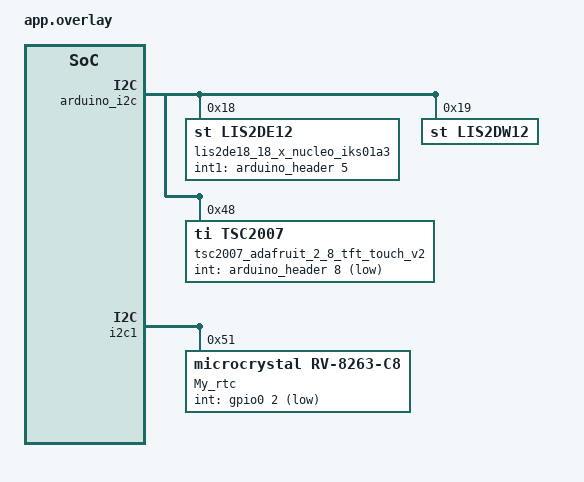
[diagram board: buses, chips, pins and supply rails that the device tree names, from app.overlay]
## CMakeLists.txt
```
# Copyright (c) 2019 STMicroelectronics
#
# SPDX-License-Identifier: Apache-2.0
#
cmake_minimum_required(VERSION 3.20.0)

# This sample is specific to x_nucleo_iks01a3 shield. Enforce -DSHIELD option
set(SHIELD adafruit_2_8_tft_touch_v2  x_nucleo_iks01a3 )

find_package(Zephyr REQUIRED HINTS $ENV{ZEPHYR_BASE})
project(standard)
set(LVGL_DIR ${ZEPHYR_LVGL_MODULE_DIR})
FILE(GLOB app_sources src/*.c src/ui/*.c src/ui/images/*.c src/ui/fonts/*.c src/ui/screens/*.c src/ui/components/*.c)

target_sources(app PRIVATE ${app_sources})
```

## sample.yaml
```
sample:
  name: X-NUCLEO-IKS01A3 sensor shield
common:
  min_ram: 16
tests:
  sample.shields.x_nucleo_iks01a3.standard:
    harness: shield
    tags: shield
    depends_on:
      - arduino_i2c
      - arduino_gpio
    platform_exclude:
      - disco_l475_iot1
      - lpcxpresso55s16
      - pan1781_evb
      - pan1782_evb
      - mimxrt1010_evk
```

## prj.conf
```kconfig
CONFIG_LOG=y
CONFIG_STDOUT_CONSOLE=y
CONFIG_I2C=y
CONFIG_GPIO=y
CONFIG_SENSOR=y
CONFIG_INPUT=y
CONFIG_INPUT_TSC2007=y
CONFIG_INPUT_GPIO_KEYS=y
CONFIG_SENSOR_LOG_LEVEL_DBG=y
CONFIG_HTS221=y
CONFIG_LPS22HH=y
CONFIG_STTS751_TRIGGER_NONE=y
CONFIG_LIS2MDL_TRIGGER_NONE=y
CONFIG_LIS2DW12_TRIGGER_OWN_THREAD=y
CONFIG_LSM6DSO_ENABLE_TEMP=n
CONFIG_LSM6DSO_TRIGGER_OWN_THREAD=y
CONFIG_CBPRINTF_FP_SUPPORT=y


# DIL24 section
CONFIG_LIS2DE12_ENABLE_TEMP=y
CONFIG_LIS2DE12_TRIGGER_NONE=y

CONFIG_MAIN_STACK_SIZE=4096

CONFIG_SHELL=y

CONFIG_LVGL=y
CONFIG_LV_Z_MEM_POOL_SIZE=32768
CONFIG_LV_Z_SHELL=y
CONFIG_LV_USE_MONKEY=y
CONFIG_LV_COLOR_DEPTH_32=y

CONFIG_DISPLAY=y

CONFIG_LV_USE_PERF_MONITOR=y

CONFIG_LV_FONT_MONTSERRAT_16=y
CONFIG_LV_FONT_MONTSERRAT_18=y
CONFIG_LV_FONT_MONTSERRAT_20=y
CONFIG_LV_FONT_MONTSERRAT_24=y 
CONFIG_LV_FONT_MONTSERRAT_42=y
# Benchmark Demo
CONFIG_LV_USE_FONT_COMPRESSED=y

# Pour les 4 timers
CONFIG_NRFX_TIMER0=y
CONFIG_NRFX_TIMER1=y
CONFIG_NRFX_TIMER2=y
CONFIG_NRFX_TIMER3=y


CONFIG_NCS_SAMPLES_DEFAULTS=y
CONFIG_SYSTEM_WORKQUEUE_STACK_SIZE=2048
CONFIG_RTC=y
CONFIG_RTC_RV8263=y

CONFIG_BT=y
CONFIG_BT_PERIPHERAL=y  # Si vous souhaitez que votre appareil soit un périphérique
CONFIG_BT_DEVICE_NAME="nRF5340BLEyopchoco"  # Le nom de votre appareil
CONFIG_BT_NUS=y  # Pour utiliser un service de type UART BLE (exemple)




CONFIG_BT_SETTINGS=y
CONFIG_SETTINGS=y
```

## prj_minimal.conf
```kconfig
# BEGIN Configurations from basic/minimal

CONFIG_NCS_SAMPLES_DEFAULTS=y

CONFIG_BT=y
CONFIG_BT_PERIPHERAL=y
CONFIG_BT_DEVICE_NAME="YALAboard"

# Enable the LBS service
CONFIG_BT_LBS=y
CONFIG_BT_LBS_POLL_BUTTON=y
CONFIG_DK_LIBRARY=y

# Drivers and peripherals
CONFIG_I2C=n
CONFIG_WATCHDOG=n
CONFIG_GPIO=n
CONFIG_SPI=n
CONFIG_SERIAL=n

# Power management

# Interrupts
CONFIG_DYNAMIC_INTERRUPTS=n
CONFIG_IRQ_OFFLOAD=n

# Memory protection
CONFIG_THREAD_STACK_INFO=n
CONFIG_THREAD_CUSTOM_DATA=n
CONFIG_FPU=n

# Boot
CONFIG_NCS_BOOT_BANNER=n
CONFIG_BOOT_BANNER=n
CONFIG_BOOT_DELAY=0

# Console
CONFIG_CONSOLE=n
CONFIG_UART_CONSOLE=n
CONFIG_STDOUT_CONSOLE=n
CONFIG_PRINTK=n
CONFIG_EARLY_CONSOLE=n

# Build
CONFIG_SIZE_OPTIMIZATIONS=y

# ARM
CONFIG_ARM_MPU=n
# END Configurations from basic/minimal

# In order to correctly tune the stack sizes for the threads the following
# Configurations can enabled to print the current use:
# CONFIG_THREAD_NAME=y
# CONFIG_THREAD_ANALYZER=y
# CONFIG_THREAD_ANALYZER_AUTO=y
# CONFIG_THREAD_ANALYZER_RUN_UNLOCKED=y
# CONFIG_THREAD_ANALYZER_USE_PRINTK=y
# CONFIG_CONSOLE=y
# CONFIG_UART_CONSOLE=y
# CONFIG_SERIAL=y
# CONFIG_PRINTK=y

# Example output of thread analyzer
# SDC RX              : unused 816 usage 208 / 1024 (20 %)
# BT RX               : unused 1784 usage 416 / 2200 (18 %)
# BT TX               : unused 992 usage 544 / 1536 (35 %)
# thread_analyzer     : unused 136 usage 376 / 512 (73 %)
# sysworkq            : unused 1824 usage 224 / 2048 (10 %)
# MPSL signal         : unused 520 usage 504 / 1024 (49 %)
# idle 00             : unused 192 usage 64 / 256 (25 %)
# main                : unused 136 usage 888 / 1024 (86 %)
# Configurations set based on thread analyzer output.
CONFIG_BT_RX_STACK_SIZE=1024
CONFIG_BT_HCI_TX_STACK_SIZE_WITH_PROMPT=y
CONFIG_BT_HCI_TX_STACK_SIZE=640
CONFIG_SYSTEM_WORKQUEUE_STACK_SIZE=1536
CONFIG_MPSL_WORK_STACK_SIZE=640
CONFIG_MAIN_STACK_SIZE=1024
CONFIG_IDLE_STACK_SIZE=128
CONFIG_ISR_STACK_SIZE=1024

# Disable features not needed
CONFIG_TIMESLICING=n
CONFIG_COMMON_LIBC_MALLOC=n
CONFIG_LOG=n
CONFIG_ASSERT=n

# Disable Bluetooth features not needed
CONFIG_BT_DEBUG_NONE=y
CONFIG_BT_ASSERT=n
CONFIG_BT_DATA_LEN_UPDATE=n
CONFIG_BT_PHY_UPDATE=n
CONFIG_BT_GATT_CACHING=n
CONFIG_BT_GATT_SERVICE_CHANGED=n
CONFIG_BT_GAP_PERIPHERAL_PREF_PARAMS=n
CONFIG_BT_SETTINGS_CCC_LAZY_LOADING=y
CONFIG_BT_HCI_VS=n

# Disable Bluetooth controller features not needed
CONFIG_BT_CTLR_PRIVACY=n
CONFIG_BT_CTLR_PHY_2M=n

# Reduce Bluetooth buffers
CONFIG_BT_BUF_EVT_DISCARDABLE_COUNT=1
CONFIG_BT_BUF_EVT_DISCARDABLE_SIZE=43
CONFIG_BT_BUF_EVT_RX_COUNT=2

CONFIG_BT_CONN_TX_MAX=3
CONFIG_BT_L2CAP_TX_BUF_COUNT=2
CONFIG_BT_ATT_TX_COUNT=2
CONFIG_BT_BUF_ACL_TX_COUNT=3
CONFIG_BT_BUF_ACL_TX_SIZE=27
```

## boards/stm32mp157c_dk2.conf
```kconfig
# Copyright (c) 2019 STMicroelectronics
#
# SPDX-License-Identifier: Apache-2.0

CONFIG_LPS22HH_TRIGGER_OWN_THREAD=n
CONFIG_LPS22HH_TRIGGER_NONE=y
CONFIG_LIS2DW12_TRIGGER_OWN_THREAD=n
CONFIG_LIS2DW12_TRIGGER_NONE=y
CONFIG_LSM6DSO_TRIGGER_OWN_THREAD=n
CONFIG_LSM6DSO_TRIGGER_NONE=y

# DIL24 section
CONFIG_LIS2DE12_ENABLE_TEMP=n
```

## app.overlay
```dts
/*
 * Copyright (c) 2024 STMicroelectronics
 *
 * SPDX-License-Identifier: Apache-2.0
 */

/*
 * Sensors declared here are possibly present on DIL24
 */
 &arduino_i2c {
	status = "okay";

	lis2de18_18_x_nucleo_iks01a3: lis2de12@18 {
		compatible = "st,lis2de12";
		reg = <0x18>;
		int1-gpios =  <&arduino_header 5 GPIO_ACTIVE_HIGH>; /* A5 */
	};

	lis2dw12: lis2dw12@19 {
        compatible = "st,lis2dw12";
        reg = <0x19>;
        label = "LIS2DW12";
    };

	tsc2007_adafruit_2_8_tft_touch_v2: tsc2007@48 {
		status = "okay";
		compatible = "ti,tsc2007";
		reg = <0x48>;
		int-gpios = <&arduino_header 8 GPIO_ACTIVE_LOW>; /* D2 */
		screen-width = <240>;
		screen-height = <320>;
		raw-x-min = <400>;
		raw-y-min = <400>;
		raw-x-max = <3600>;
		raw-y-max = <3600>;
		inverted-x;
		inverted-y;
	};
};
&i2c1 {
	status = "okay";

	rv8263: rtc@51{
		compatible = "microcrystal,rv-8263-c8";
		reg = <0x51>;
		label ="My_rtc";
		clkout = <0>;
		int-gpios = <&gpio0 2 GPIO_ACTIVE_LOW>;
	};
};
```

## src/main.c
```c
// === Includes communs ===
#include <zephyr/kernel.h>
#include <zephyr/device.h>
#include <zephyr/drivers/sensor.h>
#include <zephyr/drivers/display.h>
#include <zephyr/input/input.h>
#include <zephyr/sys/util.h>
#include <zephyr/logging/log.h>
#include <zephyr/drivers/rtc.h>
#include <lvgl.h>
#include <lvgl_mem.h>
#include "ui/ui.h"
#include <stdio.h>
#include <limits.h>

#include <zephyr/drivers/gpio.h>
#include <zephyr/bluetooth/bluetooth.h>
#include <zephyr/bluetooth/conn.h>
#include <zephyr/bluetooth/gatt.h>
#include <bluetooth/services/nus.h>


// === Définition et configuration ===
#define STACK_SIZE 2048
K_THREAD_STACK_DEFINE(thread_stack_area_0, STACK_SIZE);
K_THREAD_STACK_DEFINE(thread_stack_area_1, STACK_SIZE);
K_THREAD_STACK_DEFINE(thread_stack_area_2, STACK_SIZE);
K_THREAD_STACK_DEFINE(thread_stack_area_3, STACK_SIZE);
K_THREAD_STACK_DEFINE(thread_stack_area_4, STACK_SIZE);
K_THREAD_STACK_DEFINE(thread_stack_area_5, STACK_SIZE);

struct k_thread thread_task_0, thread_task_1, thread_task_2, thread_task_3, thread_task_4, thread_task_5;
struct rtc_time now;
K_SEM_DEFINE(i2c_sem, 1, 1);
LOG_MODULE_REGISTER(app);

// ui.c ou main.c
int ss;
int mm;
int etat;
int step_count;
bool reset_podo;

bool touch_handled = false;

// === Capteurs ===
const struct device *hts221 = DEVICE_DT_GET_ANY(st_hts221);
const struct device *lps22hh = DEVICE_DT_GET_ANY(st_lps22hh);
const struct device *lis2mdl = DEVICE_DT_GET_ANY(st_lis2mdl);
//const struct device *lsm6dso = DEVICE_DT_GET_ANY(st_lsm6dso);
const struct device *lis2dw12 = DEVICE_DT_GET_ANY(st_lis2dw12);
uint32_t seconds = 0; // Compteur des secondes
uint32_t minutes = 0; // Compteur des minutes
uint32_t hours = 0;	  // Compteur des heures

void RTC_INIT()
{

	const struct device *rtc_dev = DEVICE_DT_GET(DT_NODELABEL(rv8263));

	device_is_ready(rtc_dev);

	struct rtc_time date = {
		.tm_sec = 0,
		.tm_min = 32,
		.tm_hour = 18,
		.tm_mday = 10,
		.tm_mon = 3,
		.tm_year = 2025 - 1900,
	};

	rtc_set_time(rtc_dev, &date);
}

void ma_rtc()
{
	// Récupérer l'appareil RTC
	const struct device *rtc_dev = DEVICE_DT_GET_ANY(microcrystal_rv_8263_c8);
	if (!device_is_ready(rtc_dev))
	{
		// Vérification si le périphérique RTC est prêt
		LOG_ERR("RTC device is not ready.");
		printk("RTC device is not ready.\n");
		return;
	}

	int ret = rtc_get_time(rtc_dev, &now);
	if (ret < 0)
	{
		// Si l'appel pour obtenir l'heure échoue
		LOG_ERR("Failed to get RTC time");
		printk("Failed to get RTC time\n");
		return;
	}

	// Afficher l'heure dans un format lisible
	/*printk("Current time: %02d:%02d:%02d %02d/%02d/%04d\n",
		   now.tm_hour, now.tm_min, now.tm_sec,
		   now.tm_mday, now.tm_mon + 1, now.tm_year + 1900);*/
}

// === Touchscreen ===
static struct k_sem touch_sync;
static bool screen_touched = false;
static int current_screen = 1;
static const struct device *const touch_dev_main = DEVICE_DT_GET(DT_NODELABEL(tsc2007_adafruit_2_8_tft_touch_v2));

static void touch_event_callback(struct input_event *evt, void *user_data)
{
	// Désactivation du changement d'écran sur simple toucher
	if (evt->code == INPUT_BTN_TOUCH && evt->sync)
	{
		k_sem_give(&touch_sync); // Synchronisation pour d'autres usages si nécessaire
	}
}

void init_touch_detection(const struct device *touch_dev)
{
	if (!device_is_ready(touch_dev))
	{
		printk("Touch device not ready\n");
		return;
	}
	k_sem_init(&touch_sync, 0, 1);
}
bool is_screen_touched(void)
{
	k_sem_take(&touch_sync, K_FOREVER);
	return screen_touched;
}
INPUT_CALLBACK_DEFINE(touch_dev_main, touch_event_callback, NULL);

// === Fonctions de config capteurs ===
// (identiques aux deux fichiers - gardées telles quelles)
static void lis2mdl_config(const struct device *dev) {}
static void lps22hh_config(const struct device *dev) { /* voir original */ }
static void lsm6dso_config(const struct device *dev) { /* voir original */ }

// === Tâches capteurs ===
struct sensor_value temp1, hum, press;
struct sensor_value accel[3], gyro[3], magn[3];

void lps22hh_task(void)
{
	struct sensor_value press;

	while (1)
	{
		k_sem_take(&i2c_sem, K_FOREVER);
		if (sensor_sample_fetch(lis2mdl) < 0)
		{
			printf("LIS2MDL sample error\n");
		}
		sensor_channel_get(lps22hh, SENSOR_CHAN_PRESS, &press);
		k_sem_give(&i2c_sem);
		// printf("LPS22HH: Pressure: %.3f kPa\n", sensor_value_to_double(&press));
		k_sleep(K_SECONDS(3));
	}
}

void lis2mdl_task(void)
{
	struct sensor_value press;

	while (1)
	{
		k_sem_take(&i2c_sem, K_FOREVER);
		if (sensor_sample_fetch(lis2mdl) < 0)
		{
			printf("LIS2MDL sample error\n");
		}

		sensor_channel_get(lis2mdl, SENSOR_CHAN_MAGN_XYZ, magn);
		k_sem_give(&i2c_sem);
		/*printf("LIS2MDL: Magnetometer (gauss): x=%.3f y=%.3f z=%.3f\n",
			   sensor_value_to_double(&magn[0]),
			   sensor_value_to_double(&magn[1]),
			   sensor_value_to_double(&magn[2]));*/
		k_sleep(K_SECONDS(3));
	}
}

/*
void lsm6dso_task(void)
{
	struct sensor_value press;

	while (1)
	{
		k_sem_take(&i2c_sem, K_FOREVER);
		if (sensor_sample_fetch(lsm6dso) < 0)
		{
			printf("LIS2MDL sample error\n");
		}
		sensor_channel_get(lsm6dso, SENSOR_CHAN_ACCEL_XYZ, accel1);
		sensor_channel_get(lsm6dso, SENSOR_CHAN_GYRO_XYZ, gyro);
		k_sem_give(&i2c_sem);
		printf("LSM6DSO: Accel (m/s²): x=%.3f y=%.3f z=%.3f\n",
			   sensor_value_to_double(&accel1[0]),
			   sensor_value_to_double(&accel1[1]),
			   sensor_value_to_double(&accel1[2]));
		printf("LSM6DSO: Gyro (dps): x=%.3f y=%.3f z=%.3f\n",
			   sensor_value_to_double(&gyro[0]),
			   sensor_value_to_double(&gyro[1]),
			   sensor_value_to_double(&gyro[2]));
		k_sleep(K_SECONDS(3));
	}
}
*/


void chrono_task()
{
	// Boucle infinie pour mettre à jour l'affichage toutes les secondes
	while (1)
	{
		// Calculer le temps écoulé en secondes

		if (etat == 1)
		{
			seconds++;

			// Gérer les minutes et les heures
			if (seconds >= 60)
			{
				seconds = 0;
				minutes++;
			}
			if (minutes >= 60)
			{
				minutes = 0;
				hours++;
			}
			if (hours >= 24)
			{
				hours = 0; // Remise à zéro des heures après 24 heures
			}
			update_display_chrono(minutes, seconds);
		}
		else if (etat == 2)
		{
			mm = minutes;
			ss = seconds;
			update_display_chrono(mm, ss);
		}
		else
		{
			minutes = 0;
			seconds = 0;
		}

		// Afficher le temps écoulé sous le format hh:mm:ss
		printk("%02d:%02d:%02d\n", hours, minutes, seconds);

		// Attendre 1 seconde avant de mettre à jour le chrono
		k_msleep(1000); // Attente de 1000 ms (1 seconde)
	}
}

void task_rtc(void)
{
	while (1)
	{
		k_sem_take(&i2c_sem, K_FOREVER);
		ma_rtc();
		k_sem_give(&i2c_sem);

		update_display_time(now.tm_hour, now.tm_min,
							now.tm_mday, now.tm_mon + 1, (now.tm_year + 1900) - 2000);
		k_sleep(K_MINUTES(1));
	}
}
void hts221_task(void)
{
	struct sensor_value press;

	while (1)
	{
		k_sem_take(&i2c_sem, K_FOREVER); // Prendre le
		if (sensor_sample_fetch(hts221) < 0)
		{
			printf("LIS2MDL sample error\n");
		}
		sensor_channel_get(hts221, SENSOR_CHAN_AMBIENT_TEMP, &temp1);
		sensor_channel_get(hts221, SENSOR_CHAN_HUMIDITY, &hum);

		k_sem_give(&i2c_sem); // Rendre le sémaphore

		/*printf("HTS221: Temp: %.1f C | Humidity: %.1f%%\n",
			sensor_value_to_double(&temp1),
			sensor_value_to_double(&hum));
*/
		update_display_hts221(sensor_value_to_double(&temp1),
							  sensor_value_to_double(&hum));

		k_sleep(K_SECONDS(3));
	}
}



void podometre_task(void) 
{
	typedef struct {
    		float x, y, z;
		} Vector3;
	float calculate_magnitude(Vector3 acc) { // Fonction pour calculer la magnitude d'un vecteur
    		return sqrtf(acc.x * acc.x + acc.y * acc.y + acc.z * acc.z);
		}
	
	#define STEP_THRESHOLD 13.0f
	#define MIN_TIME_BETWEEN_STEPS_MS 200 // Temps minimum entre deux pas (en ms)
	static float last_peak_time = -MIN_TIME_BETWEEN_STEPS_MS; // Temps du dernier pic détecté
	static float last_magnitude = 0.0f;
	static bool in_dead_zone = false;
	while (1)
	{
		k_sem_take(&i2c_sem, K_FOREVER);
		if (sensor_sample_fetch(lis2dw12) < 0)
		{
			printf("LIS2MDL sample error\n");
		}
		sensor_channel_get(lis2dw12, SENSOR_CHAN_ACCEL_XYZ, accel);
		k_sem_give(&i2c_sem);

		if (reset_podo)
		{
			step_count = 0;
			reset_podo = false;
		}
		// Lire les données de l'accéléromètre
		Vector3 acc_data;
		acc_data.x = sensor_value_to_double(&accel[0]);
		acc_data.y = sensor_value_to_double(&accel[1]);
		acc_data.z = sensor_value_to_double(&accel[2]);
		float magnitude = calculate_magnitude(acc_data);

		// Détecter un pic (magnitude dépasse le seuil et est un maximum local)
		if (!in_dead_zone && magnitude > STEP_THRESHOLD && magnitude > last_magnitude) {
			float current_time = k_uptime_get(); // Temps actuel en ms

			// Vérifier si le temps entre deux pics est suffisant
			if (current_time - last_peak_time > MIN_TIME_BETWEEN_STEPS_MS) {
				(step_count)++;
				last_peak_time = current_time;
				in_dead_zone = true;
			}
		}
		// Sortir de la zone morte si la magnitude redescend sous le seuil
		if (magnitude < STEP_THRESHOLD) {
			in_dead_zone = false;
		}
		last_magnitude = magnitude;

		/* update_display_podometre(step_count);
		*/
		/* printf("LIS2DW12: Accel (m.s-2): x: %.3f, y: %.3f, z: %.3f\n\n",
				sensor_value_to_double(&accel[0]),
				sensor_value_to_double(&accel[1]),
				sensor_value_to_double(&accel[2]));
	
			printf("LIS2DW12: Step count: %d\n", step_count); */
		k_msleep(100);
	}
}



// === Bluetooth ===

struct ble_data_packet {
    int16_t temperature;  // Température en dixièmes de degré (ex. 25.3°C -> 253)
    uint16_t humidity;    // Humidité en dixièmes de pourcentage (ex. 45.6% -> 456)
    uint32_t step_count;  // Nombre de pas
};

static uint8_t adv_data_buffer[sizeof(struct ble_data_packet)];

static const struct bt_data ad[] = {
    BT_DATA_BYTES(BT_DATA_FLAGS, (BT_LE_AD_GENERAL | BT_LE_AD_NO_BREDR)),
    BT_DATA(BT_DATA_MANUFACTURER_DATA, adv_data_buffer, sizeof(adv_data_buffer)),
};

void prepare_advertising_data(double temperature, double humidity, uint32_t step_count)
{
    struct ble_data_packet data = {
        .temperature = (int16_t)(temperature * 10), // Convertir en dixièmes de degré
        .humidity = (uint16_t)(humidity * 10),      // Convertir en dixièmes de pourcentage
        .step_count = step_count,
    };

    // Copier les données dans le buffer d'advertising
    memcpy(adv_data_buffer, &data, sizeof(data));
}

int start_advertising(void)
{
    int err = bt_le_adv_start(BT_LE_ADV_CONN, ad, ARRAY_SIZE(ad), NULL, 0);
    if (err) {
        printk("Advertising failed to start (err %d)\n", err);
        return err;
    }
    printk("Advertising successfully started\n");
    return 0;
}


// Tâche BLE pour mettre à jour les données périodiquement
void ble_advert_task(void)
{
    double temperature = 0.0;
    double humidity = 0.0;

    while (1) {
        // Convertir les valeurs des capteurs
        temperature = sensor_value_to_double(&temp1);
        humidity = sensor_value_to_double(&hum);

        // Préparer les nouvelles données
        prepare_advertising_data(temperature, humidity, step_count);

        // Redémarrer l'advertising avec les nouvelles données
        bt_le_adv_stop();
        start_advertising();

        // Attendre avant la prochaine mise à jour
        k_sleep(K_SECONDS(2));
    }
}


// === Main ===
int main(void)
{

	int err = bt_enable(NULL);
    if (err) {
        printk("Bluetooth init failed (err %d)\n", err);
        return 0;
    }
    printk("Bluetooth initialized\n");

    // Charger les paramètres Bluetooth
    settings_load();

    // Démarrer l'advertising initial
    prepare_advertising_data(0.0, 0.0, 0); // Données initiales
    start_advertising();


	const struct device *display_dev = DEVICE_DT_GET(DT_CHOSEN(zephyr_display));
	if (!device_is_ready(display_dev))
	{
		LOG_ERR("Display device not ready");
		return 0;
	}

	ui_init();
	display_blanking_off(display_dev);
#ifdef CONFIG_LV_Z_MEM_POOL_SYS_HEAP
	lvgl_print_heap_info(false);
#endif

	if (!device_is_ready(hts221) || !device_is_ready(lps22hh) ||
		!device_is_ready(lis2mdl) || !device_is_ready(lis2dw12))
	{
		printk("Sensor devices not ready.\n");
		return 0;
	}

	init_touch_detection(touch_dev_main);
	lis2mdl_config(lis2mdl);
	lps22hh_config(lps22hh);
	lsm6dso_config(lis2dw12);

	k_thread_create(&thread_task_0, thread_stack_area_0,
					K_THREAD_STACK_SIZEOF(thread_stack_area_0),
					lis2mdl_task,
					NULL, NULL, NULL,
					5, 0, K_NO_WAIT);

	k_thread_create(&thread_task_1, thread_stack_area_1,
					K_THREAD_STACK_SIZEOF(thread_stack_area_1),
					hts221_task,
					NULL, NULL, NULL,
					5, 0, K_NO_WAIT);

	k_thread_create(&thread_task_2, thread_stack_area_2,

					K_THREAD_STACK_SIZEOF(thread_stack_area_2),
					
					podometre_task,
					NULL, NULL, NULL,
					1, 0, K_FOREVER);

	k_thread_create(&thread_task_3, thread_stack_area_3,
					K_THREAD_STACK_SIZEOF(thread_stack_area_3),
					task_rtc,
					NULL, NULL, NULL,
					1, 0, K_FOREVER);

	k_tid_t id5 = k_thread_create(&thread_task_4, thread_stack_area_4,
								  K_THREAD_STACK_SIZEOF(thread_stack_area_4),
								  chrono_task,
								  NULL, NULL, NULL,
								  1, 0, K_FOREVER);

	k_thread_create(&thread_task_5, thread_stack_area_5,
					K_THREAD_STACK_SIZEOF(thread_stack_area_5),
					ble_advert_task,
					NULL, NULL, NULL,
					1, 0, K_FOREVER);

	k_thread_start(&thread_task_0);
	k_thread_start(&thread_task_1);
	k_thread_start(&thread_task_2);
	k_thread_start(&thread_task_3);
	k_thread_start(&thread_task_4);
	k_thread_start(&thread_task_5);

	RTC_INIT();

	while (1)
	{
		if (is_screen_touched())
		{
			if (!touch_handled)
			{
				printk("Screen touched!\n");

				// Changement d'écran cyclique
				if (current_screen == 1)
				{
					_ui_screen_change(&ui_Screen2, LV_SCR_LOAD_ANIM_FADE_ON, 0, 0, &ui_Screen2_screen_init);
					current_screen = 2;
				}
				else if (current_screen == 2)
				{
					_ui_screen_change(&ui_Screen3, LV_SCR_LOAD_ANIM_FADE_ON, 0, 0, &ui_Screen3_screen_init);
					current_screen = 3;
=======
		K_THREAD_STACK_SIZEOF(thread_stack_area_2),
		lsm6dso_task,
		NULL, NULL, NULL,
		5, 0, K_FOREVER);

		k_thread_create(&thread_task_3, thread_stack_area_3,
			K_THREAD_STACK_SIZEOF(thread_stack_area_3),
			task_rtc,
			NULL, NULL, NULL,
			1, 0, K_FOREVER);

			k_tid_t id5 = k_thread_create(&thread_task_4, thread_stack_area_4,
				K_THREAD_STACK_SIZEOF(thread_stack_area_4),
				chrono_task,
				NULL, NULL, NULL,
				1, 0, K_FOREVER);
			k_thread_start(&thread_task_0);
			k_thread_start(&thread_task_1);
			k_thread_start(&thread_task_2);
			k_thread_start(&thread_task_3);
			k_thread_start(&thread_task_4);
	

				RTC_INIT();

			while (1) {
				if (is_screen_touched()) {
					if (!touch_handled) {
						printk("Screen touched!\n");
			
						// Changement d'écran cyclique
						if (current_screen == 1) {
							_ui_screen_change(&ui_Screen2, LV_SCR_LOAD_ANIM_FADE_ON, 0, 0, &ui_Screen2_screen_init);
							current_screen = 2;
						} else if (current_screen == 2) {
							_ui_screen_change(&ui_Screen3, LV_SCR_LOAD_ANIM_FADE_ON, 0, 0, &ui_Screen3_screen_init);
							current_screen = 3;
						} else {
							_ui_screen_change(&ui_Screen1, LV_SCR_LOAD_ANIM_FADE_ON, 0, 0, &ui_Screen1_screen_init);
							current_screen = 1;
						}
			
						touch_handled = true; // On bloque jusqu’à relâchement
					}
				} else {
					// Le doigt est levé → on peut à nouveau gérer le prochain touch
					touch_handled = false;

				}
				else
				{
					_ui_screen_change(&ui_Screen1, LV_SCR_LOAD_ANIM_FADE_ON, 0, 0, &ui_Screen1_screen_init);
					current_screen = 1;
				}

				touch_handled = true; // On bloque jusqu’à relâchement
			}
		}
		else
		{
			// Le doigt est levé → on peut à nouveau gérer le prochain touch
			touch_handled = false;
		}

		lv_timer_handler();
		k_msleep(30); // Assez rapide mais pas trop pour éviter rebond
	}
}
```
